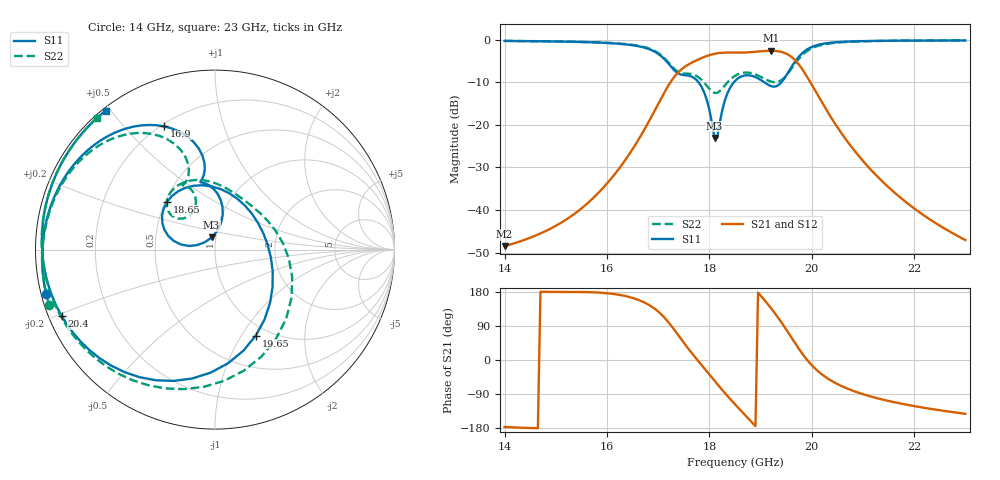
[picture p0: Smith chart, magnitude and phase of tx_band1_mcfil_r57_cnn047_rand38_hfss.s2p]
! Touchstone file exported from HFSS 3D Layout Design 2026.1.0
!  File:  D:/Work/SIM/ADS_AUTO_SIM/projects/RFSOC_RF/TX_Fillter.aedt
!  Generated:  05:55:28 AM Aug 31, 2026
!  Design:  TX_BAND1_MCFIL_R57_CNN047
!  Project:  TX_Fillter
# GHz S MA R 50.000000
! Terminal data exported
! Port[1] = Port1
! Port[2] = Port2
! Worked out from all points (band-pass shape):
!   181 points, 14 GHz to 23 GHz, reference 50 ohm
!   highest |S21| = -2.56 dB at 19.2 GHz (marker M1); lowest = -48.5 dB at 14 GHz (marker M2)
!   |S21| within 3 dB of the highest: 17.62 GHz to 19.73 GHz (2.107 GHz wide, 11.3 % of centre)
!   lowest |S11| = -23.1 dB at 18.1 GHz (marker M3), VSWR 1.15, Z = 47.7 + j6.49 ohm
!   |S11| at or under -10 dB: 17.79 GHz to 18.48 GHz (686.3 MHz wide, 3.78 % of centre); 19.08 GHz to 19.4 GHz (326.3 MHz wide, 1.7 % of centre)
!   |S22| runs from -12.5 to -0.1 dB; largest |S21 - S12| = 1.3e-14
!   S11 on the Smith chart (normalised r, x): 14 GHz: 0.01, -0.13; 16.9 GHz: 0.21, +0.65; 18.65 GHz: 0.51, +0.32; 19.65 GHz: 0.87, -1.16; 20.4 GHz: 0.04, -0.21; 23 GHz: 0.01, +0.49
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14  0.9726 -165.4  0.003758 -176.6  0.003758 -176.6  0.9738 -161.4
15.5  0.9449 163.8  0.01043 179.4  0.01043 179.4  0.9479 168.9
16.3  0.8943 140.3  0.03464 170.4  0.03464 170.4  0.9008 146.7
16.9  0.7434 112.5  0.136 138.3  0.136 138.3  0.7572 121.0
17  0.6855 106.7  0.1767 127.8  0.1767 127.8  0.701 115.7
17.25  0.4859 96.9  0.3246 91.2  0.3246 91.2  0.503 107.4
17.5  0.3858 102.3  0.4736 45.4  0.4736 45.4  0.4021 116.0
17.85  0.2783 83.4  0.6131 -13.8  0.6131 -13.8  0.3379 110.7
18.1  0.07019 105.5  0.6865 -54.8  0.6865 -54.8  0.2378 124.4
18.3  0.1927 171.4  0.7086 -86.8  0.7086 -86.8  0.2907 141.6
18.5  0.3291 153.1  0.7088 -116.9  0.7088 -116.9  0.3783 135.3
18.65  0.3769 135.3  0.7097 -138.3  0.7097 -138.3  0.4103 123.9
18.95  0.3534 93.4  0.73 178.0  0.73 178.0  0.3815 94.8
19.2  0.2866 43.9  0.745 137.4  0.745 137.4  0.3239 64.5
19.45  0.3435 -20.7  0.7089 90.7  0.7089 90.7  0.3534 17.4
19.65  0.5303 -64.6  0.5966 49.5  0.5966 49.5  0.5036 -32.1
19.85  0.7289 -100.0  0.4194 10.3  0.4194 10.3  0.6938 -76.7
20  0.8262 -120.7  0.2969 -13.8  0.2969 -13.8  0.7965 -102.5
20.4  0.9307 -156.5  0.1162 -56.2  0.1162 -56.2  0.9169 -145.7
20.85  0.9627 -179.6  0.04841 -83.5  0.04841 -83.5  0.9567 -172.2
21.5  0.9776 159.2  0.01849 -108.1  0.01849 -108.1  0.9755 164.5
23  0.9852 128.2  0.004438 -141.9  0.004438 -141.9  0.9849 132.1
